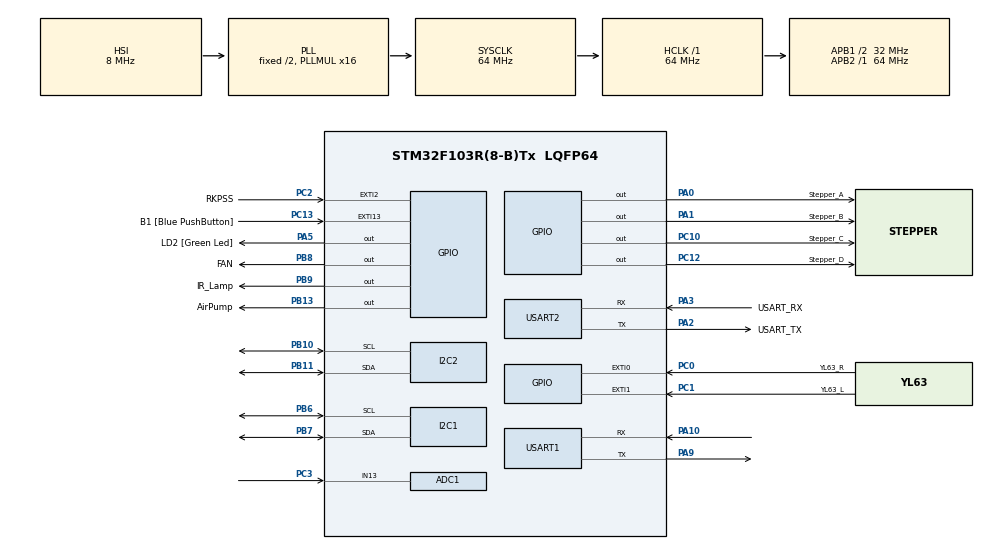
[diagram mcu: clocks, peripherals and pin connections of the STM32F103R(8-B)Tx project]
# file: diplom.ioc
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Mcu.Family=STM32F1
Dma.USART2_RX.3.Mode=DMA_NORMAL
PA2.GPIO_PuPd=GPIO_NOPULL
NVIC.DMA1_Channel5_IRQn=true\:0\:0\:false\:false\:true\:false\:true
NVIC.I2C1_EV_IRQn=true\:0\:0\:false\:false\:true\:true\:true
Dma.USART1_TX.1.MemInc=DMA_MINC_ENABLE
PB10.Mode=I2C
Dma.USART2_TX.4.Direction=DMA_MEMORY_TO_PERIPH
PC10.Signal=GPIO_Output
PC12.Signal=GPIO_Output
PA14.GPIO_Label=TCK
PA3.GPIO_PuPd=GPIO_NOPULL
PA2.GPIO_Speed=GPIO_SPEED_FREQ_LOW
PC0.GPIO_Label=YL63_R
Dma.USART2_TX.4.Instance=DMA1_Channel7
NVIC.TIM1_UP_IRQn=true\:0\:0\:false\:false\:true\:true\:true
PB13.GPIO_Label=AirPump
PA3.GPIO_Speed=GPIO_SPEED_FREQ_LOW
PB11.Signal=I2C2_SDA
PB13.Signal=GPIO_Output
RCC.SYSCLKSource=RCC_SYSCLKSOURCE_PLLCLK
ProjectManager.StackSize=0x400
PD1-OSC_OUT.Signal=RCC_OSC_OUT
NVIC.EXTI1_IRQn=true\:1\:0\:true\:false\:true\:true\:true
TIM1.Prescaler=6400-1
RCC.HCLKFreq_Value=64000000
RCC.APB2TimFreq_Value=64000000
TIM3.Period=15-1
PB6.Signal=I2C1_SCL
Dma.USART2_TX.4.Mode=DMA_NORMAL
PB6.Mode=I2C
PC3.Signal=ADCx_IN13
RCC.AHBFreq_Value=64000000
Dma.USART1_RX.0.Priority=DMA_PRIORITY_LOW
Dma.USART2_TX.4.PeriphDataAlignment=DMA_PDATAALIGN_BYTE
NVIC.EXTI15_10_IRQn=true\:0\:0\:false\:false\:true\:true\:true
RCC.RTCClockSelection=RCC_RTCCLKSOURCE_LSE
RCC.PLLMUL=RCC_PLL_MUL16
Dma.ADC1.2.MemDataAlignment=DMA_MDATAALIGN_HALFWORD
Dma.USART2_TX.4.Priority=DMA_PRIORITY_LOW
PC14-OSC32_IN.Mode=LSE-External-Oscillator
PA14.Mode=Serial_Wire
TIM3.Prescaler=6400-1
PA5.GPIO_PuPd=GPIO_NOPULL
Dma.ADC1.2.Direction=DMA_PERIPH_TO_MEMORY
PB7.Signal=I2C1_SDA
Dma.USART1_RX.0.MemInc=DMA_MINC_ENABLE
VP_TIM1_VS_ClockSourceINT.Mode=Internal
Dma.USART1_TX.1.PeriphDataAlignment=DMA_PDATAALIGN_BYTE
Dma.USART2_RX.3.Direction=DMA_PERIPH_TO_MEMORY
PC0.GPIO_ModeDefaultEXTI=GPIO_MODE_IT_FALLING
Mcu.Package=LQFP64
PB9.Signal=GPIO_Output
USART2.VirtualMode=VM_ASYNC
PC13-TAMPER-RTC.GPIO_PuPd=GPIO_NOPULL
PA2.GPIO_Label=USART_TX
PA10.Signal=USART1_RX
Dma.USART2_RX.3.MemDataAlignment=DMA_MDATAALIGN_BYTE
NVIC.EXTI2_IRQn=true\:1\:0\:true\:false\:true\:true\:true
Dma.Request2=ADC1
Dma.Request1=USART1_TX
RCC.APB1TimFreq_Value=64000000
Dma.Request4=USART2_TX
Dma.Request3=USART2_RX
Dma.USART1_RX.0.Mode=DMA_NORMAL
Dma.USART1_TX.1.Priority=DMA_PRIORITY_LOW
TIM1.Period=10000-1
NVIC.DMA1_Channel4_IRQn=true\:0\:0\:false\:false\:true\:false\:true
NVIC.USART1_IRQn=true\:0\:0\:false\:false\:true\:true\:true
Dma.Request0=USART1_RX
PC2.GPIO_Label=RKPSS
Dma.USART1_RX.0.Instance=DMA1_Channel5
VP_TIM3_VS_ClockSourceINT.Mode=Internal
Dma.ADC1.2.Mode=DMA_NORMAL
PC2.GPIO_ModeDefaultEXTI=GPIO_MODE_IT_FALLING
PA3.Signal=USART2_RX
PA2.GPIO_Mode=GPIO_MODE_AF_PP
Dma.USART1_TX.1.Direction=DMA_MEMORY_TO_PERIPH
PB3.GPIO_Label=SWO
PC15-OSC32_OUT.Mode=LSE-External-Oscillator
NVIC.DMA1_Channel6_IRQn=true\:0\:0\:false\:false\:true\:false\:true
Dma.USART1_TX.1.Instance=DMA1_Channel4
SH.ADCx_IN13.0=ADC1_IN13,IN13
PD1-OSC_OUT.Mode=HSE-External-Clock-Source
Dma.USART1_RX.0.PeriphDataAlignment=DMA_PDATAALIGN_BYTE
PB9.GPIO_Label=IR_Lamp
PA10.Mode=Asynchronous
PC10.GPIO_Label=Stepper_C
Dma.USART2_TX.4.MemInc=DMA_MINC_ENABLE
Dma.USART2_RX.3.Instance=DMA1_Channel6
Dma.ADC1.2.PeriphDataAlignment=DMA_PDATAALIGN_HALFWORD
PC2.Signal=GPXTI2
PC13-TAMPER-RTC.Signal=GPXTI13
Dma.USART2_RX.3.PeriphDataAlignment=DMA_PDATAALIGN_BYTE
PD0-OSC_IN.Signal=RCC_OSC_IN
PC0.Signal=GPXTI0
RCC.APB1CLKDivider=RCC_HCLK_DIV2
PC14-OSC32_IN.Signal=RCC_OSC32_IN
NVIC.USART2_IRQn=true\:0\:0\:false\:false\:true\:true\:true
PA0-WKUP.GPIO_Label=Stepper_A
PA0-WKUP.Signal=GPIO_Output
RCC.ADCPresc=RCC_ADCPCLK2_DIV8
PA3.Mode=Asynchronous
PA13.Signal=SYS_JTMS-SWDIO
TIM1.AutoReloadPreload=TIM_AUTORELOAD_PRELOAD_DISABLE
PB8.GPIO_Label=FAN
PA9.Mode=Asynchronous
Dma.ADC1.2.MemInc=DMA_MINC_ENABLE
PB11.Mode=I2C
ProjectManager.TargetToolchain=STM32CubeIDE
I2C1.I2C_Mode=I2C_Fast
PA3.GPIO_Mode=GPIO_MODE_AF_PP
Dma.USART1_RX.0.Direction=DMA_PERIPH_TO_MEMORY
PA9.Signal=USART1_TX
ADC1.Channel-1\#ChannelRegularConversion=ADC_CHANNEL_13
RCC.USBFreq_Value=64000000
PC15-OSC32_OUT.Signal=RCC_OSC32_OUT
PA1.Signal=GPIO_Output
Dma.USART1_RX.0.PeriphInc=DMA_PINC_DISABLE
Dma.USART2_TX.4.PeriphInc=DMA_PINC_DISABLE
PD0-OSC_IN.Mode=HSE-External-Clock-Source
PB10.Signal=I2C2_SCL
PA5.Signal=GPIO_Output
Dma.USART1_TX.1.MemDataAlignment=DMA_MDATAALIGN_BYTE
board=NUCLEO-F103RB
PC13-TAMPER-RTC.GPIO_Label=B1 [Blue PushButton]
NVIC.TIM3_IRQn=true\:1\:0\:true\:false\:true\:true\:true
RCC.APB2Freq_Value=64000000
PA5.GPIO_ModeDefaultOutputPP=GPIO_MODE_OUTPUT_PP
PC1.GPIO_Label=YL63_L
PA1.GPIO_Label=Stepper_B
Dma.USART1_RX.0.MemDataAlignment=DMA_MDATAALIGN_BYTE
PA13.Mode=Serial_Wire
Mcu.Name=STM32F103R(8-B)Tx
PA2.Signal=USART2_TX
PA13.GPIO_Label=TMS
Dma.ADC1.2.Instance=DMA1_Channel1
PB3.Signal=SYS_JTDO-TRACESWO
NVIC.EXTI0_IRQn=true\:1\:0\:true\:false\:true\:true\:true
ADC1.SamplingTime-1\#ChannelRegularConversion=ADC_SAMPLETIME_13CYCLES_5
RCC.SYSCLKFreq_VALUE=64000000
Dma.ADC1.2.Priority=DMA_PRIORITY_LOW
ADC1.master=1
PA5.GPIO_Label=LD2 [Green Led]
Dma.ADC1.2.PeriphInc=DMA_PINC_DISABLE
Dma.USART1_TX.1.Mode=DMA_NORMAL
PC12.GPIO_Label=Stepper_D
USART1.VirtualMode=VM_ASYNC
ADC1.Rank-1\#ChannelRegularConversion=1
PB7.Mode=I2C
PA14.Signal=SYS_JTCK-SWCLK
ProjectManager.HeapSize=0x200
Dma.USART1_TX.1.PeriphInc=DMA_PINC_DISABLE
Dma.USART2_RX.3.MemInc=DMA_MINC_ENABLE
Dma.USART2_RX.3.PeriphInc=DMA_PINC_DISABLE
NVIC.I2C2_EV_IRQn=true\:0\:0\:false\:false\:true\:true\:true
PA5.GPIO_Speed=GPIO_SPEED_FREQ_LOW
NVIC.PriorityGroup=NVIC_PRIORITYGROUP_4
ADC1.NbrOfConversionFlag=1
PC1.GPIO_ModeDefaultEXTI=GPIO_MODE_IT_FALLING
Dma.USART2_RX.3.Priority=DMA_PRIORITY_LOW
PB8.Signal=GPIO_Output
PA2.Mode=Asynchronous
NVIC.DMA1_Channel7_IRQn=true\:0\:0\:false\:false\:true\:false\:true
NVIC.DMA1_Channel1_IRQn=true\:0\:0\:false\:false\:true\:false\:true
RCC.APB1Freq_Value=32000000
PC1.Signal=GPXTI1
Dma.USART2_TX.4.MemDataAlignment=DMA_MDATAALIGN_BYTE
PA3.GPIO_Label=USART_RX

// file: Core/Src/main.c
/* USER CODE BEGIN Header */
/**
  ******************************************************************************
  * @file           : main.c
  * @brief          : Main program body
  ******************************************************************************
  * @attention
  *
  * <h2><center>&copy; Copyright (c) 2023 STMicroelectronics.
  * All rights reserved.</center></h2>
  *
  * This software component is licensed by ST under BSD 3-Clause license,
  * the "License"; You may not use this file except in compliance with the
  * License. You may obtain a copy of the License at:
  *                        opensource.org/licenses/BSD-3-Clause
  *
  ******************************************************************************
  */
/* USER CODE END Header */
#include "main.h"

/* USER CODE BEGIN Includes */
#include "ADC_Modules.h"
#include "AHT10.h"
#include "BMP280.h"
#include "UART_Router.h"
#include "IR_Lamp.h"
#include "AirPump.h"
#include "FAN.h"
#include "Stepper_Motor.h"
/* USER CODE END Includes */

ADC_HandleTypeDef hadc1;
DMA_HandleTypeDef hdma_adc1;

I2C_HandleTypeDef hi2c1;
I2C_HandleTypeDef hi2c2;

TIM_HandleTypeDef htim1;
TIM_HandleTypeDef htim3;

UART_HandleTypeDef huart1;
UART_HandleTypeDef huart2;
DMA_HandleTypeDef hdma_usart1_rx;
DMA_HandleTypeDef hdma_usart1_tx;
DMA_HandleTypeDef hdma_usart2_rx;
DMA_HandleTypeDef hdma_usart2_tx;

void SystemClock_Config(void);
static void MX_GPIO_Init(void);
static void MX_DMA_Init(void);
static void MX_USART2_UART_Init(void);
static void MX_I2C2_Init(void);
static void MX_I2C1_Init(void);
static void MX_TIM1_Init(void);
static void MX_USART1_UART_Init(void);
static void MX_ADC1_Init(void);
static void MX_TIM3_Init(void);

/* USER CODE BEGIN 0 */

void HAL_UARTEx_RxEventCallback(UART_HandleTypeDef *huart, uint16_t Size)
{
	if(huart->Instance == USART2)
	{
		Router_CommandHandler();
		HAL_UARTEx_ReceiveToIdle_DMA(&huart2, Router.RxBuff, Size);
		__HAL_DMA_DISABLE_IT(&hdma_usart2_rx, DMA_IT_HT);
	}
	return;
}

void HAL_TIM_PeriodElapsedCallback(TIM_HandleTypeDef *htim)
{
	if(htim->Instance == TIM1)
	{
		LED_TOGGLE;
		HAL_ADC_Start_DMA(&hadc1, (uint32_t*)&ADC1_Module.Data, ADC1_Module.NChannels);
		if(AHT10_DataStruct.TriggerTimeCounter == AHT10_TRIGGER_MEASUREMENTS_PERIOD)
		{
			AHT10_TriggerMeasurements();
			AHT10_DataStruct.TriggerTimeCounter = 0;
		}
		else
		{
			AHT10_DataStruct.TriggerTimeCounter++;
		}

		if(AHT10_DataStruct.ReadDataTimerCounter == AHT10_READ_DATA_PERIOD)
		{
			AHT10_Measure();
			AHT10_DataStruct.ReadDataTimerCounter = 0;
		}
		else
		{
			AHT10_DataStruct.ReadDataTimerCounter++;
		}
		return;
	}
	else if(htim->Instance == TIM3)
	{
		if(StepperMotor_1.cw)
		{
			StepperMotor_HalfStep_RotateClockWise(&StepperMotor_1);
		}
		else
		{
			StepperMotor_HalfStep_RotateCounterClockWise(&StepperMotor_1);
		}
	}

}

void HAL_GPIO_EXTI_Callback(uint16_t GPIO_Pin)
{
	switch(GPIO_Pin)
	{
		case YL63_R_Pin:
			StepperMotor_1.cw = 0;
			StepperMotor_StopRotation(&StepperMotor_1, &htim3);
			Router_UART_Transmit_DMA((uint8_t*)ROUTER_MSG_MOTOR_RIGHT_BORDER, strlen(ROUTER_MSG_MOTOR_RIGHT_BORDER));
			break;

		case YL63_L_Pin:
			StepperMotor_1.cw = 1;
			StepperMotor_StopRotation(&StepperMotor_1, &htim3);
			Router_UART_Transmit_DMA((uint8_t*)ROUTER_MSG_MOTOR_LEFT_BORDER, strlen(ROUTER_MSG_MOTOR_LEFT_BORDER));
			break;

		case RKPSS_Pin:
			Router_UART_Transmit_DMA((uint8_t*)ROUTER_MSG_SOUND_DETECTED, strlen(ROUTER_MSG_SOUND_DETECTED));
			break;
	}

	return;
}

void HAL_ADC_ConvCpltCallback(ADC_HandleTypeDef* hadc)
{
    if(hadc->Instance == ADC1)
    {
    	if(ADC1_Module.Data[0] <= WaterLevelSensor_EMPTY)
    		ADC1_Module.Level = 0;
    	else if(ADC1_Module.Data[0] <= WaterLevelSensor_HALF)
    		ADC1_Module.Level = 50;
    	else
    		ADC1_Module.Level = 100;
    }
}

/* USER CODE END 0 */

int main(void)
{

  /* MCU Configuration--------------------------------------------------------*/

  /* Reset of all peripherals, Initializes the Flash interface and the Systick. */
  HAL_Init();

  /* Configure the system clock */
  SystemClock_Config();

  /* Initialize all configured peripherals */
  MX_GPIO_Init();
  MX_DMA_Init();
  MX_USART2_UART_Init();
  MX_I2C2_Init();
  MX_I2C1_Init();
  MX_TIM1_Init();
  MX_USART1_UART_Init();
  MX_ADC1_Init();
  MX_TIM3_Init();
  /* USER CODE BEGIN 2 */

  BMP280_Init();
  AHT10_Init();
  ADC1_Module_Init();
  HAL_ADC_Start_DMA(&hadc1, (uint32_t*)&ADC1_Module.Data, ADC1_Module.NChannels);
  AIR_PUMP_OFF;
  FAN_OFF;
  IR_LAMP_OFF;
  StepperMotor_Init(&StepperMotor_1);
  StepperMotor_SetSpeed(&StepperMotor_1, &htim3, 10);

  HAL_TIM_Base_Start_IT(&htim1);
  HAL_TIM_Base_Start_IT(&htim3);

  HAL_UARTEx_ReceiveToIdle_DMA(&huart2, Router.RxBuff, ROUTER_RX_BUFF_SIZE);
  __HAL_DMA_DISABLE_IT(&hdma_usart2_rx, DMA_IT_HT);

  /* USER CODE END 2 */

  /* Infinite loop */
  while (1)
  {

  }
}

void SystemClock_Config(void)
{
  RCC_OscInitTypeDef RCC_OscInitStruct = {0};
  RCC_ClkInitTypeDef RCC_ClkInitStruct = {0};
  RCC_PeriphCLKInitTypeDef PeriphClkInit = {0};

  /** Initializes the RCC Oscillators according to the specified parameters
  * in the RCC_OscInitTypeDef structure.
  */
  RCC_OscInitStruct.OscillatorType = RCC_OSCILLATORTYPE_HSI;
  RCC_OscInitStruct.HSIState = RCC_HSI_ON;
  RCC_OscInitStruct.HSICalibrationValue = RCC_HSICALIBRATION_DEFAULT;
  RCC_OscInitStruct.PLL.PLLState = RCC_PLL_ON;
  RCC_OscInitStruct.PLL.PLLSource = RCC_PLLSOURCE_HSI_DIV2;
  RCC_OscInitStruct.PLL.PLLMUL = RCC_PLL_MUL16;
  if (HAL_RCC_OscConfig(&RCC_OscInitStruct) != HAL_OK)
  {
    Error_Handler();
  }
  /** Initializes the CPU, AHB and APB buses clocks
  */
  RCC_ClkInitStruct.ClockType = RCC_CLOCKTYPE_HCLK|RCC_CLOCKTYPE_SYSCLK
                              |RCC_CLOCKTYPE_PCLK1|RCC_CLOCKTYPE_PCLK2;
  RCC_ClkInitStruct.SYSCLKSource = RCC_SYSCLKSOURCE_PLLCLK;
  RCC_ClkInitStruct.AHBCLKDivider = RCC_SYSCLK_DIV1;
  RCC_ClkInitStruct.APB1CLKDivider = RCC_HCLK_DIV2;
  RCC_ClkInitStruct.APB2CLKDivider = RCC_HCLK_DIV1;

  if (HAL_RCC_ClockConfig(&RCC_ClkInitStruct, FLASH_LATENCY_2) != HAL_OK)
  {
    Error_Handler();
  }
  PeriphClkInit.PeriphClockSelection = RCC_PERIPHCLK_ADC;
  PeriphClkInit.AdcClockSelection = RCC_ADCPCLK2_DIV8;
  if (HAL_RCCEx_PeriphCLKConfig(&PeriphClkInit) != HAL_OK)
  {
    Error_Handler();
  }
}

static void MX_ADC1_Init(void)
{

  ADC_ChannelConfTypeDef sConfig = {0};

  /** Common config
  */
  hadc1.Instance = ADC1;
  hadc1.Init.ScanConvMode = ADC_SCAN_DISABLE;
  hadc1.Init.ContinuousConvMode = DISABLE;
  hadc1.Init.DiscontinuousConvMode = DISABLE;
  hadc1.Init.ExternalTrigConv = ADC_SOFTWARE_START;
  hadc1.Init.DataAlign = ADC_DATAALIGN_RIGHT;
  hadc1.Init.NbrOfConversion = 1;
  if (HAL_ADC_Init(&hadc1) != HAL_OK)
  {
    Error_Handler();
  }
  /** Configure Regular Channel
  */
  sConfig.Channel = ADC_CHANNEL_13;
  sConfig.Rank = ADC_REGULAR_RANK_1;
  sConfig.SamplingTime = ADC_SAMPLETIME_13CYCLES_5;
  if (HAL_ADC_ConfigChannel(&hadc1, &sConfig) != HAL_OK)
  {
    Error_Handler();
  }

}

static void MX_I2C1_Init(void)
{

  hi2c1.Instance = I2C1;
  hi2c1.Init.ClockSpeed = 400000;
  hi2c1.Init.DutyCycle = I2C_DUTYCYCLE_2;
  hi2c1.Init.OwnAddress1 = 0;
  hi2c1.Init.AddressingMode = I2C_ADDRESSINGMODE_7BIT;
  hi2c1.Init.DualAddressMode = I2C_DUALADDRESS_DISABLE;
  hi2c1.Init.OwnAddress2 = 0;
  hi2c1.Init.GeneralCallMode = I2C_GENERALCALL_DISABLE;
  hi2c1.Init.NoStretchMode = I2C_NOSTRETCH_DISABLE;
  if (HAL_I2C_Init(&hi2c1) != HAL_OK)
  {
    Error_Handler();
  }

}

static void MX_I2C2_Init(void)
{

  hi2c2.Instance = I2C2;
  hi2c2.Init.ClockSpeed = 100000;
  hi2c2.Init.DutyCycle = I2C_DUTYCYCLE_2;
  hi2c2.Init.OwnAddress1 = 0;
  hi2c2.Init.AddressingMode = I2C_ADDRESSINGMODE_7BIT;
  hi2c2.Init.DualAddressMode = I2C_DUALADDRESS_DISABLE;
  hi2c2.Init.OwnAddress2 = 0;
  hi2c2.Init.GeneralCallMode = I2C_GENERALCALL_DISABLE;
  hi2c2.Init.NoStretchMode = I2C_NOSTRETCH_DISABLE;
  if (HAL_I2C_Init(&hi2c2) != HAL_OK)
  {
    Error_Handler();
  }

}

static void MX_TIM1_Init(void)
{

  TIM_ClockConfigTypeDef sClockSourceConfig = {0};
  TIM_MasterConfigTypeDef sMasterConfig = {0};

  htim1.Instance = TIM1;
  htim1.Init.Prescaler = 6400-1;
  htim1.Init.CounterMode = TIM_COUNTERMODE_UP;
  htim1.Init.Period = 10000-1;
  htim1.Init.ClockDivision = TIM_CLOCKDIVISION_DIV1;
  htim1.Init.RepetitionCounter = 0;
  htim1.Init.AutoReloadPreload = TIM_AUTORELOAD_PRELOAD_DISABLE;
  if (HAL_TIM_Base_Init(&htim1) != HAL_OK)
  {
    Error_Handler();
  }
  sClockSourceConfig.ClockSource = TIM_CLOCKSOURCE_INTERNAL;
  if (HAL_TIM_ConfigClockSource(&htim1, &sClockSourceConfig) != HAL_OK)
  {
    Error_Handler();
  }
  sMasterConfig.MasterOutputTrigger = TIM_TRGO_RESET;
  sMasterConfig.MasterSlaveMode = TIM_MASTERSLAVEMODE_DISABLE;
  if (HAL_TIMEx_MasterConfigSynchronization(&htim1, &sMasterConfig) != HAL_OK)
  {
    Error_Handler();
  }

}

static void MX_TIM3_Init(void)
{

  TIM_ClockConfigTypeDef sClockSourceConfig = {0};
  TIM_MasterConfigTypeDef sMasterConfig = {0};

  htim3.Instance = TIM3;
  htim3.Init.Prescaler = 6400-1;
  htim3.Init.CounterMode = TIM_COUNTERMODE_UP;
  htim3.Init.Period = 15-1;
  htim3.Init.ClockDivision = TIM_CLOCKDIVISION_DIV1;
  htim3.Init.AutoReloadPreload = TIM_AUTORELOAD_PRELOAD_DISABLE;
  if (HAL_TIM_Base_Init(&htim3) != HAL_OK)
  {
    Error_Handler();
  }
  sClockSourceConfig.ClockSource = TIM_CLOCKSOURCE_INTERNAL;
  if (HAL_TIM_ConfigClockSource(&htim3, &sClockSourceConfig) != HAL_OK)
  {
    Error_Handler();
  }
  sMasterConfig.MasterOutputTrigger = TIM_TRGO_RESET;
  sMasterConfig.MasterSlaveMode = TIM_MASTERSLAVEMODE_DISABLE;
  if (HAL_TIMEx_MasterConfigSynchronization(&htim3, &sMasterConfig) != HAL_OK)
  {
    Error_Handler();
  }

}

static void MX_USART1_UART_Init(void)
{

  huart1.Instance = USART1;
  huart1.Init.BaudRate = 115200;
  huart1.Init.WordLength = UART_WORDLENGTH_8B;
  huart1.Init.StopBits = UART_STOPBITS_1;
  huart1.Init.Parity = UART_PARITY_NONE;
  huart1.Init.Mode = UART_MODE_TX_RX;
  huart1.Init.HwFlowCtl = UART_HWCONTROL_NONE;
  huart1.Init.OverSampling = UART_OVERSAMPLING_16;
  if (HAL_UART_Init(&huart1) != HAL_OK)
  {
    Error_Handler();
  }

}

static void MX_USART2_UART_Init(void)
{

  huart2.Instance = USART2;
  huart2.Init.BaudRate = 115200;
  huart2.Init.WordLength = UART_WORDLENGTH_8B;
  huart2.Init.StopBits = UART_STOPBITS_1;
  huart2.Init.Parity = UART_PARITY_NONE;
  huart2.Init.Mode = UART_MODE_TX_RX;
  huart2.Init.HwFlowCtl = UART_HWCONTROL_NONE;
  huart2.Init.OverSampling = UART_OVERSAMPLING_16;
  if (HAL_UART_Init(&huart2) != HAL_OK)
  {
    Error_Handler();
  }

}

static void MX_DMA_Init(void)
{

  /* DMA controller clock enable */
  __HAL_RCC_DMA1_CLK_ENABLE();

  /* DMA interrupt init */
  /* DMA1_Channel1_IRQn interrupt configuration */
  HAL_NVIC_SetPriority(DMA1_Channel1_IRQn, 0, 0);
  HAL_NVIC_EnableIRQ(DMA1_Channel1_IRQn);
  /* DMA1_Channel4_IRQn interrupt configuration */
  HAL_NVIC_SetPriority(DMA1_Channel4_IRQn, 0, 0);
  HAL_NVIC_EnableIRQ(DMA1_Channel4_IRQn);
  /* DMA1_Channel5_IRQn interrupt configuration */
  HAL_NVIC_SetPriority(DMA1_Channel5_IRQn, 0, 0);
  HAL_NVIC_EnableIRQ(DMA1_Channel5_IRQn);
  /* DMA1_Channel6_IRQn interrupt configuration */
  HAL_NVIC_SetPriority(DMA1_Channel6_IRQn, 0, 0);
  HAL_NVIC_EnableIRQ(DMA1_Channel6_IRQn);
  /* DMA1_Channel7_IRQn interrupt configuration */
  HAL_NVIC_SetPriority(DMA1_Channel7_IRQn, 0, 0);
  HAL_NVIC_EnableIRQ(DMA1_Channel7_IRQn);

}

static void MX_GPIO_Init(void)
{
  GPIO_InitTypeDef GPIO_InitStruct = {0};

  /* GPIO Ports Clock Enable */
  __HAL_RCC_GPIOC_CLK_ENABLE();
  __HAL_RCC_GPIOD_CLK_ENABLE();
  __HAL_RCC_GPIOA_CLK_ENABLE();
  __HAL_RCC_GPIOB_CLK_ENABLE();

  /*Configure GPIO pin Output Level */
  HAL_GPIO_WritePin(GPIOA, Stepper_A_Pin|Stepper_B_Pin|LD2_Pin, GPIO_PIN_RESET);

  /*Configure GPIO pin Output Level */
  HAL_GPIO_WritePin(GPIOB, AirPump_Pin|FAN_Pin|IR_Lamp_Pin, GPIO_PIN_RESET);

  /*Configure GPIO pin Output Level */
  HAL_GPIO_WritePin(GPIOC, Stepper_C_Pin|Stepper_D_Pin, GPIO_PIN_RESET);

  /*Configure GPIO pin : B1_Pin */
  GPIO_InitStruct.Pin = B1_Pin;
  GPIO_InitStruct.Mode = GPIO_MODE_IT_RISING;
  GPIO_InitStruct.Pull = GPIO_NOPULL;
  HAL_GPIO_Init(B1_GPIO_Port, &GPIO_InitStruct);

  /*Configure GPIO pins : YL63_R_Pin YL63_L_Pin RKPSS_Pin */
  GPIO_InitStruct.Pin = YL63_R_Pin|YL63_L_Pin|RKPSS_Pin;
  GPIO_InitStruct.Mode = GPIO_MODE_IT_FALLING;
  GPIO_InitStruct.Pull = GPIO_NOPULL;
  HAL_GPIO_Init(GPIOC, &GPIO_InitStruct);

  /*Configure GPIO pins : Stepper_A_Pin Stepper_B_Pin LD2_Pin */
  GPIO_InitStruct.Pin = Stepper_A_Pin|Stepper_B_Pin|LD2_Pin;
  GPIO_InitStruct.Mode = GPIO_MODE_OUTPUT_PP;
  GPIO_InitStruct.Pull = GPIO_NOPULL;
  GPIO_InitStruct.Speed = GPIO_SPEED_FREQ_LOW;
  HAL_GPIO_Init(GPIOA, &GPIO_InitStruct);

  /*Configure GPIO pins : AirPump_Pin FAN_Pin IR_Lamp_Pin */
  GPIO_InitStruct.Pin = AirPump_Pin|FAN_Pin|IR_Lamp_Pin;
  GPIO_InitStruct.Mode = GPIO_MODE_OUTPUT_PP;
  GPIO_InitStruct.Pull = GPIO_NOPULL;
  GPIO_InitStruct.Speed = GPIO_SPEED_FREQ_LOW;
  HAL_GPIO_Init(GPIOB, &GPIO_InitStruct);

  /*Configure GPIO pins : Stepper_C_Pin Stepper_D_Pin */
  GPIO_InitStruct.Pin = Stepper_C_Pin|Stepper_D_Pin;
  GPIO_InitStruct.Mode = GPIO_MODE_OUTPUT_PP;
  GPIO_InitStruct.Pull = GPIO_NOPULL;
  GPIO_InitStruct.Speed = GPIO_SPEED_FREQ_LOW;
  HAL_GPIO_Init(GPIOC, &GPIO_InitStruct);

  /* EXTI interrupt init*/
  HAL_NVIC_SetPriority(EXTI0_IRQn, 1, 0);
  HAL_NVIC_EnableIRQ(EXTI0_IRQn);

  HAL_NVIC_SetPriority(EXTI1_IRQn, 1, 0);
  HAL_NVIC_EnableIRQ(EXTI1_IRQn);

  HAL_NVIC_SetPriority(EXTI2_IRQn, 1, 0);
  HAL_NVIC_EnableIRQ(EXTI2_IRQn);

  HAL_NVIC_SetPriority(EXTI15_10_IRQn, 0, 0);
  HAL_NVIC_EnableIRQ(EXTI15_10_IRQn);

}

void Error_Handler(void)
{
  __disable_irq();
  while (1)
  {
  }
}

/************************ (C) COPYRIGHT STMicroelectronics *****END OF FILE****/
